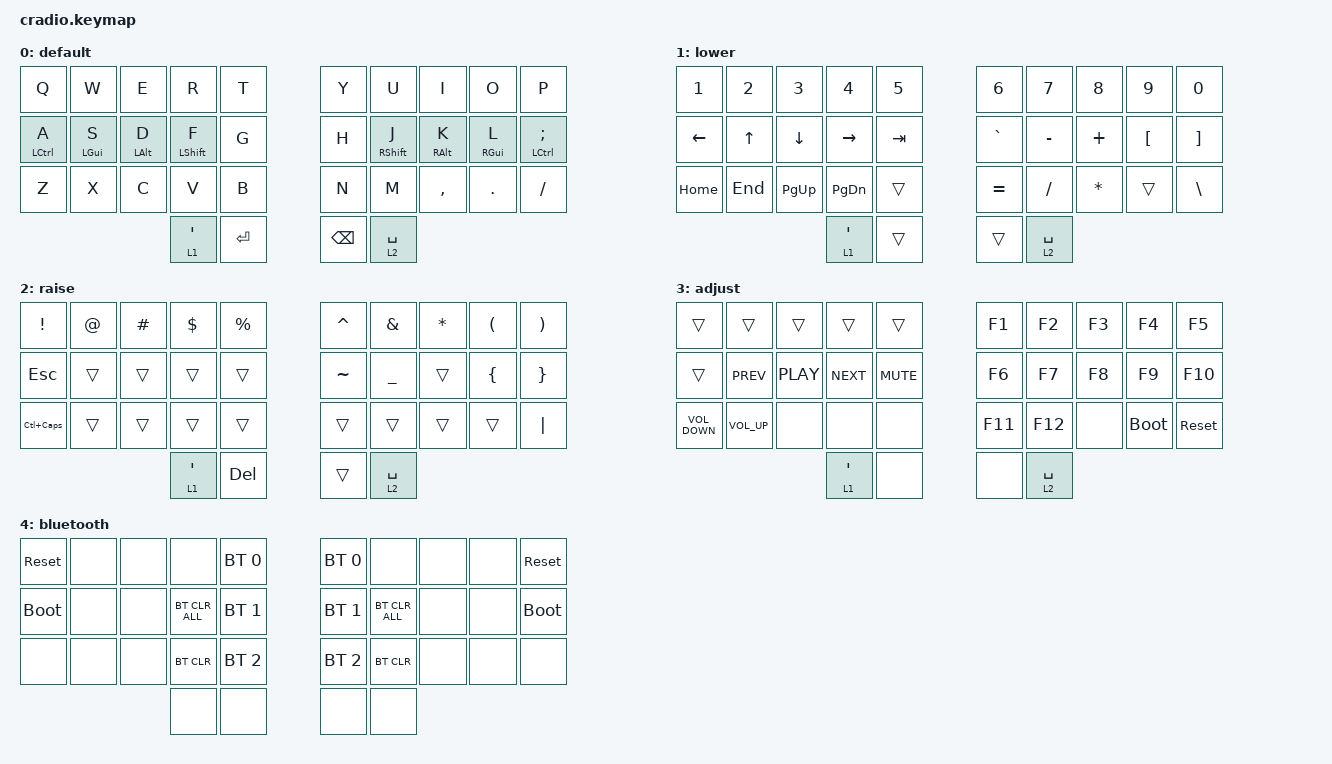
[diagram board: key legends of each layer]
/*
* Copyright (c) 2020 The ZMK Contributors
*
* SPDX-License-Identifier: MIT
*/

#include <behaviors.dtsi>
#include <dt-bindings/zmk/bt.h>
#include <dt-bindings/zmk/keys.h>

// Layer definitions

#define DEFAULT     0
#define LOWER       1
#define RAISE       2
#define ADJUST      3
#define BLUETOOTH   4

// -----------------

&mt {
    //  flavor = "tap-preferred";
    // tapping_term_ms = <200>;
};

&sk { ignore-modifiers; };

/ {
    leds {
        compatible = "gpio-leds";

        user_led: led_0 {
            gpios = <&gpio0 15 GPIO_ACTIVE_HIGH>;
            label = "User LED";
        };
    };

    aliases { indicator-led = &user_led; };

    behaviors {
        hml: home_row_mod_left {
            compatible = "zmk,behavior-hold-tap";
            #binding-cells = <2>;
            flavor = "balanced";
            require-prior-idle-ms = <75>;
            tapping-term-ms = <200>;
            quick-tap-ms = <0>;
            bindings = <&kp>, <&kp>;

            hold-trigger-on-release;
        };

        hmr: home_row_mod_right {
            compatible = "zmk,behavior-hold-tap";
            #binding-cells = <2>;
            flavor = "balanced";
            require-prior-idle-ms = <75>;
            tapping-term-ms = <200>;
            quick-tap-ms = <0>;
            bindings = <&kp>, <&kp>;

            hold-trigger-on-release;
        };
    };

    conditional_layers {
        compatible = "zmk,conditional-layers";

        goto_adjust {
            if-layers = <1 2>;
            then-layer = <3>;
        };
    };

    combos {
        compatible = "zmk,combos";

        // both right thumb keys
        // internal-left & external-right thumb keys
        // both left thumb keys

        left_bluetooth {
            bindings = <&mo 4>;
            key-positions = <31 30>;
        };

        right_bluetooth {
            bindings = <&mo 4>;
            key-positions = <32 33>;
        };
    };

    keymap {
        compatible = "zmk,keymap";

        // base layer

        default {
            bindings = <
&kp Q         &kp W        &kp E        &kp R               &kp T        &kp Y          &kp U         &kp I        &kp O        &kp P
&hml LCTRL A  &hml LGUI S  &hml LALT D  &hml LSHFT F        &kp G        &kp H          &hmr RSHFT J  &hmr RALT K  &hmr RGUI L  &hmr LCTRL SEMICOLON
&kp Z         &kp X        &kp C        &kp V               &kp B        &kp N          &kp M         &kp COMMA    &kp DOT      &kp SLASH
                                        &lt 1 SINGLE_QUOTE  &kp ENTER    &kp BACKSPACE  &lt 2 SPACE
            >;
        };

        // numbers, math and navigation

        lower {
            bindings = <
&kp N1    &kp N2        &kp N3          &kp N4              &kp N5     &kp N6     &kp N7       &kp N8        &kp N9            &kp N0
&kp LEFT  &kp UP_ARROW  &kp DOWN_ARROW  &kp RIGHT           &kp TAB    &kp GRAVE  &kp MINUS    &kp PLUS      &kp LEFT_BRACKET  &kp RIGHT_BRACKET
&kp HOME  &kp END       &kp PG_UP       &kp PG_DN           &trans     &kp EQUAL  &kp SLASH    &kp ASTERISK  &trans            &kp BACKSLASH
                                        &lt 1 SINGLE_QUOTE  &trans     &trans     &lt 2 SPACE
            >;
        };

        // symbols and rarely used modifiers

        raise {
            bindings = <
&kp EXCLAMATION  &kp AT_SIGN  &kp HASH  &kp DOLLAR          &kp PERCENT    &kp CARET  &kp AMPERSAND   &kp ASTERISK  &kp LEFT_PARENTHESIS  &kp RIGHT_PARENTHESIS
&kp ESC          &trans       &trans    &trans              &trans         &kp TILDE  &kp UNDERSCORE  &trans        &kp LEFT_BRACE        &kp RIGHT_BRACE
&kp LC(CAPS)     &trans       &trans    &trans              &trans         &trans     &trans          &trans        &trans                &kp PIPE
                                        &lt 1 SINGLE_QUOTE  &kp DELETE     &trans     &lt 2 SPACE
            >;
        };

        // function keys

        adjust {
            bindings = <
&trans             &trans           &trans      &trans              &trans        &kp F1   &kp F2       &kp F3  &kp F4       &kp F5
&trans             &kp C_PREV       &kp C_PLAY  &kp C_NEXT          &kp C_MUTE    &kp F6   &kp F7       &kp F8  &kp F9       &kp F10
&kp C_VOLUME_DOWN  &kp C_VOLUME_UP  &none       &none               &none         &kp F11  &kp F12      &none   &bootloader  &sys_reset
                                                &lt 1 SINGLE_QUOTE  &none         &none    &lt 2 SPACE
            >;
        };

        // bluetooth layer, mirrored on both hands

        bluetooth {
            bindings = <
&sys_reset   &none  &none  &none           &bt BT_SEL 0    &bt BT_SEL 0  &none           &none  &none  &sys_reset
&bootloader  &none  &none  &bt BT_CLR_ALL  &bt BT_SEL 1    &bt BT_SEL 1  &bt BT_CLR_ALL  &none  &none  &bootloader
&none        &none  &none  &bt BT_CLR      &bt BT_SEL 2    &bt BT_SEL 2  &bt BT_CLR      &none  &none  &none
                           &none           &none           &none         &none
            >;
        };
    };
};
